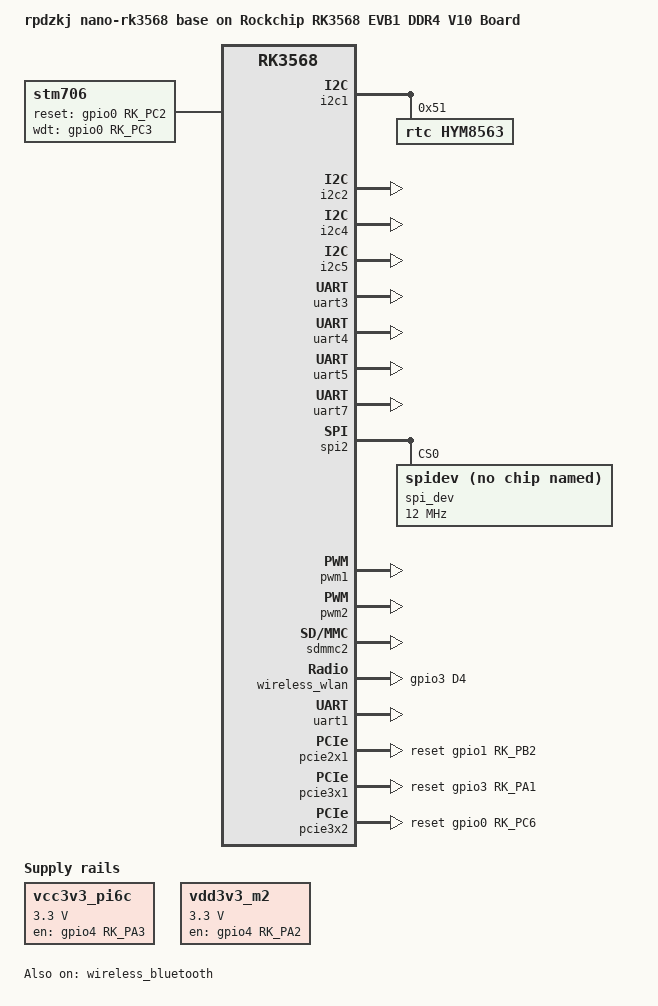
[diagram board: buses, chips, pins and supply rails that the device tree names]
// SPDX-License-Identifier: (GPL-2.0+ OR MIT)
/*
 * Copyright (c) 2020 Rockchip Electronics Co., Ltd.
 *
 */
 
/dts-v1/;
//rk3568-evb1-ddr4-v10
// #include "rk3568-evb1-ddr4-v10.dtsi"
//#include "rk3568-base-no-rk809.dtsi"

#include "rk3568-evb-rpdzkj-pwm-regulator.dtsi"

#include "rk3568-linux.dtsi"

/*************************camera***********************/
#include "rp-camera-mipi-gc2093-single-2lane.dtsi"
/***************************************************/


/*************************adc key***********************/
#include "rp-adc-key.dtsi"
/***************************************************/

/*************************CAN**********************/
#include "rp-can1-m1-rk3568.dtsi"
/**************************************************/
/*********************PCIE**************************/
#include "rk3568-pcie2x1.dtsi"
#include "rk3568-pcie3x1x1.dtsi"
#include "rk3568-pcie3x2.dtsi"
/***************************************************/

/*************************SATA***********************/
//#include "rk3568-sata2.dtsi"
/***************************************************/

/* audio */
#include "rp-audio-es8311.dtsi"

#include "lcd-gpio-nano-rk3568.dtsi"     //gpio config for lcd

/****** LCD config reference **/
/** single HDMI */
//#include "rp-lcd-hdmi.dtsi"

/** mipi0 +hdmi */
//#include "rp-lcd-mipi0-5-720-1280-v2-boxTP.dtsi"
#include "rp-lcd-mipi0-7-720-1280.dtsi"
//#include "rp-lcd-mipi0-8-800-1280-v3.dtsi"
//#include "rp-lcd-mipi0-8-1200-1920.dtsi"
//#include "rp-lcd-mipi0-10-800-1280-v3.dtsi"
//#include "rp-lcd-mipi0-10-1200-1920.dtsi"

/** MIPI1toLVDS + HDMI */
//#include "rp-lcd-mipi1tolvds-gm8775c-10-1024-600-raw.dtsi"
//#include "rp-lcd-mipi1tolvds-gm8775c-1920-1080.dtsi"

/** LVDS + HDMI */
//#include "rp-lcd-lvds-7-1024-600-v2.dtsi"
//#include "rp-lcd-lvds-10-1280-800.dtsi"

/** EDP + HDMI */
//#include "rp-lcd-edp-13-1920-1080.dtsi"
//#include "rp-lcd-edp-13.3-15.6-1920-1080.dtsi"



/{
        model = "rpdzkj nano-rk3568 base on Rockchip RK3568 EVB1 DDR4 V10 Board";
        compatible = "rpdzkj,nano-rk3568", "rockchip,rk3568";
	

       rp_power{
                status = "okay";
                compatible = "rp_power";
                rp_not_deep_sleep = <1>;

                pinctrl-names = "default";
                pinctrl-0 = <&led_pin &fan_pin &usb_pins>;
                
                //#define GPIO_FUNCTION_OUTPUT 0
                //#define GPIO_FUNCTION_INPUT 1
                //#define GPIO_FUNCTION_IRQ 2
                //#define GPIO_FUNCTION_FLASH 3
                //#define GPIO_FUNCTION_OUTPUT_CTRL 4

                /**
                 * gpioxxx {                    // the node name will display on /proc/rp_power, you can define any character string
                 *      gpio_num = <>;          // gpio you want ot control
                 *      gpio_function = <>;     // function of current gpio, refer to above define.
                 * };
                 */

                led {	//system led
                        gpio_num = <&gpio0 RK_PB7 GPIO_ACTIVE_HIGH>;
                        gpio_function = <4>;
                };

                fan {	//fan
                        gpio_num = <&gpio4 RK_PC0 GPIO_ACTIVE_HIGH>;
                        gpio_function = <4>;
                };

                otg_power {       //usb otg power
                        gpio_num = <&gpio4 RK_PA5 GPIO_ACTIVE_HIGH>;
                        gpio_function = <4>;
                };

                hub_rst {	//usb hub
                        gpio_num = <&gpio3 RK_PA3 GPIO_ACTIVE_HIGH>;
                        gpio_function = <4>;
                };

                usb3_pwr {       //usb3 power en
                        gpio_num = <&gpio4 RK_PA6 GPIO_ACTIVE_HIGH>;
                        gpio_function = <4>;
                };
                usb2_vdd0 {       //usb2.0_vdd0 power en
                        gpio_num = <&gpio4 RK_PB7 GPIO_ACTIVE_HIGH>;
                        gpio_function = <4>;
                };
								usb2_vdd1 {       //usb2.0_vdd1 power en
                        gpio_num = <&gpio3 RK_PA2 GPIO_ACTIVE_HIGH>;
                        gpio_function = <4>;
                };

                spk_en {       //spk enable
                        gpio_num = <&gpio0 RK_PA0 GPIO_ACTIVE_HIGH>;
                        gpio_function = <4>;
                };
                spk_mute {       //spk mute
                        gpio_num = <&gpio0 RK_PA3 GPIO_ACTIVE_LOW>;
                        gpio_function = <4>;
                };                          
        };

        rp_gpio{
                status = "okay";
                compatible = "rp_gpio";
                
                /**
                 * gpioxxx {                    // the node name will display on /proc/rp_gpio, you can define any character string
                 *      gpio_num = <>;          // gpio you want ot control
                 *      gpio_function = <>;     // function of current gpio： 0 output, 1 input, 3 blink
                 *      gpio_event = <KEY_F14>; // optional property used to define gpio report event such as KEY_F14, only works incase of gpio_function = <1>;
                 *    };
                 */
/*
		gpio3_a7 {
			gpio_num = <&gpio3 RK_PA7 GPIO_ACTIVE_HIGH>;
                        gpio_function = <0>;
		};

		gpio3_b0 {
                        gpio_num = <&gpio3 RK_PB0 GPIO_ACTIVE_HIGH>;
                        gpio_function = <0>;
                };
*/
		gpio4_a0 {
                        gpio_num = <&gpio4 RK_PA0 GPIO_ACTIVE_HIGH>;
                        gpio_function = <0>;
                };

		gpio4_a1 {
                        gpio_num = <&gpio4 RK_PA1 GPIO_ACTIVE_HIGH>;
                        gpio_function = <0>;
                };

        };
	
	stm706 {
                status = "okay";
                compatible = "stm706";
                reset_gpio = <&gpio0 RK_PC2 GPIO_ACTIVE_HIGH>;
                wdt_gpio = <&gpio0 RK_PC3 GPIO_ACTIVE_HIGH>;
        };
        
        
	vcc3v3_pi6c: vcc3v3_pi6c { //pcie3 clk enable for m.2
                compatible = "regulator-fixed";
                regulator-name = "vcc3v3_pi6c";
                regulator-always-on;
                regulator-boot-on;
                regulator-min-microvolt = <3300000>;
                regulator-max-microvolt = <3300000>;
                enable-active-high;
                gpios = <&gpio4 RK_PA3 GPIO_ACTIVE_HIGH>;
                pinctrl-names = "default";
                pinctrl-0 = <&pcie_clk_control>;
        };

	vdd3v3_m2: vdd3v3_m2 {   //m.2 power enable
                compatible = "regulator-fixed";
                regulator-name = "vdd3v3_m2";
                regulator-always-on;
                regulator-boot-on;
                regulator-min-microvolt = <3300000>;
                regulator-max-microvolt = <3300000>;
                enable-active-high;
                gpios = <&gpio4 RK_PA2 GPIO_ACTIVE_HIGH>;
                pinctrl-names = "default";
                pinctrl-0 = <&vdd_m2_control>;
        };
        
};

&vcc5v0_sys {
    enable-active-high;
    gpio = <&gpio4 RK_PD2 GPIO_ACTIVE_HIGH>;
    pinctrl-names = "default";
    pinctrl-0 = <&vcc5v0_pin>;
};

&vdd_3v3 {
    enable-active-high;	
    pinctrl-names = "default";
    pinctrl-0 = <&vdd3v3_pin>;
    gpio = <&gpio4 RK_PC4 GPIO_ACTIVE_HIGH>;
};

&vcc3v3_sd {
	// enable-active-high;	//active low
	pinctrl-names = "default";
	pinctrl-0 = <&vcc3v3_sd_pin>;
        gpio = <&gpio0 RK_PA5 GPIO_ACTIVE_LOW>;
};

&vdd_cpu {
	pinctrl-names = "default";
	pinctrl-0 = <&vsel1_gpio>;
	vsel-gpios = <&gpio0 RK_PA2 GPIO_ACTIVE_HIGH>;
};

&pmu_io_domains {
        status = "okay";
        pmuio2-supply = <&vcc3v3_pmu>;
        vccio1-supply = <&vcc_3v3>;
        vccio3-supply = <&vcc_3v3>;
        vccio4-supply = <&vcc_3v3>;
        vccio5-supply = <&vcc_3v3>;
        vccio6-supply = <&vcc_1v8>;
        vccio7-supply = <&vcc_3v3>;
};


&i2c1 {
	status = "okay";
        rtc@51 {
                status = "okay";
                compatible = "rtc,hym8563";
                reg = <0x51>;
	  //      irq_gpio = <&gpio0 RK_PD3 GPIO_ACTIVE_LOW>;
        };
};

&i2c2
{
	status = "okay";
	pinctrl-names = "default";
        pinctrl-0 = <&i2c2m1_xfer>;
};

&i2c4
{
	status = "okay";
	pinctrl-names = "default";
  	pinctrl-0 = <&i2c4m0_xfer>;
};

&i2c5 {
	status = "okay";
	pinctrl-names = "default";
  	pinctrl-0 = <&i2c5m0_xfer>;	
};

&uart0 {
	status = "disabled";
};

&uart3 {
	status = "okay";
	pinctrl-names = "default";
	pinctrl-0 = <&uart3m1_xfer>;
};

&uart4 {
	status = "okay";
	pinctrl-names = "default";
	pinctrl-0 = <&uart4m0_xfer>;
};

&uart5 {
    status = "okay";
	pinctrl-names = "default";
	pinctrl-0 = <&uart5m1_xfer>;
};

&uart7 {
	status = "okay";
	pinctrl-names = "default";
	pinctrl-0 = <&uart7m1_xfer>;
};


&spi2 {
	status = "okay";
    pinctrl-0 = <&spi2m1_cs0 &spi2m1_pins>;
    pinctrl-1 = <&spi2m1_cs0 &spi2m1_pins_hs>;

    spi_dev@0 {
        compatible = "rockchip,spidev";
        reg = <0>;
        spi-max-frequency = <12000000>;
        spi-lsb-first;
    };
};

/******** must be close,if not system no run ******/
&dmc {
       status = "disabled";
};

&dfi {
       status = "disabled";
};

/*********************************************/


&pwm1 {
    status = "okay";
    pinctrl-names = "active";
    pinctrl-0 = <&pwm1m0_pins>;
};

&pwm2 {
    status = "okay";
    pinctrl-names = "active";
    pinctrl-0 = <&pwm2m0_pins>;
};




&pwm12{
	status = "disabled";
	pinctrl-0 = <&pwm12m1_pins>;	
        pinctrl-names = "active";
};

&pwm13{
        status = "disabled";
        pinctrl-0 = <&pwm13m1_pins>; 
        pinctrl-names = "active";
};

/** LCD backlight
 * By default, we all use backlight5 node whether it is mipi, lvds or edp,
 */ 
/** LCD configuration */
#if defined(RP_SINGLE_LCD)

    #if defined(RP_MIPI12LVDS)
	&backlight5 {
                pwms = <&pwm8 0 25000 1>;
        };

	#if defined(RP_DUALLVDS)
	&backlight5 {
                pwms = <&pwm8 0 25000 0>;
        };

        #else
        #endif

    #elif defined(RP_EDP_USED)
    #endif
    
#else
    #ifdef RP_MIPI12LVDS
	
    #endif
#endif    


/** headphone detect pin */
&rk_headset {
    status = "disabled";
    pinctrl-0 = <&hp_det>;
};

/** wifi/bt config */
&sdio_pwrseq {
    pinctrl-0 = <&wifi_enable_h>;
    reset-gpios = <&gpio3 RK_PD5 GPIO_ACTIVE_LOW>;
};

&sdmmc2 {
	pinctrl-names = "default";
    	pinctrl-0 = <&sdmmc2m0_bus4 &sdmmc2m0_cmd &sdmmc2m0_clk>;
    	status = "okay";
};

&sdmmc1 {
    status = "disabled";
};

&wireless_wlan {
	pinctrl-0 = <&wifi_host_wake_irq>;
    WIFI,host_wake_irq = <&gpio3 RK_PD4 GPIO_ACTIVE_HIGH>;
};

&wireless_bluetooth {
    uart_rts_gpios = <&gpio4 RK_PB6 GPIO_ACTIVE_LOW>;
    pinctrl-0 = <&uart1m1_rtsn>;
    pinctrl-1 = <&uart1_gpios>;
    BT,reset_gpio = <&gpio4 RK_PA7 GPIO_ACTIVE_HIGH>;
    BT,wake_gpio = <&gpio4 RK_PB0 GPIO_ACTIVE_HIGH>;
    BT,wake_host_irq = <&gpio4 RK_PB1 GPIO_ACTIVE_HIGH>;
    status = "okay";
};

&uart1 {
    status = "okay";
    pinctrl-names = "default";
    pinctrl-0 = <&uart1m1_xfer &uart1m1_ctsn>;
};

&uart8 {
    status = "disabled";
};


/** pcie2x1 */
&vcc3v3_pcie {
    /**
     * delete for gpio used to be bt_wake_host
     * and the vcc3v3_pcie need not control on our board.
     */
    /delete-property/ gpio;
};

/******* pcie2x1x1 -rtl8111hs*****/
&pcie2x1 {
    status = "okay";
    
    reset-gpios = <&gpio1 RK_PB2 GPIO_ACTIVE_HIGH>;
};

/******* pcie3x1x1 -rtl8111hs*****/
&pcie3x1 {
    status = "okay";
    reset-gpios = <&gpio3 RK_PA1 GPIO_ACTIVE_HIGH>;
};

/******* pcie3x2x1 -m.2*****/
&pcie3x2 {
    status = "okay";
    reset-gpios = <&gpio0 RK_PC6 GPIO_ACTIVE_HIGH>;
};

&pinctrl {
	pmic {
		vsel1_gpio: vsel1-gpio {
			rockchip,pins =
				<0 RK_PA2 RK_FUNC_GPIO &pcfg_pull_down>;
		};
	};

	power_pins {
		vdd3v3_pin: vdd3v3-pin {
			rockchip,pins =
				<4 RK_PC4 RK_FUNC_GPIO &pcfg_pull_up>;
		};
		vcc5v0_pin: vcc5v0-pin {
			rockchip,pins =
				<4 RK_PD2 RK_FUNC_GPIO &pcfg_pull_up>;
		};
		vcc3v3_sd_pin: vcc3v3-sd-pin {
			rockchip,pins =
				<0 RK_PA5 RK_FUNC_GPIO &pcfg_pull_down>;
		};
        
        led_pin: led-pin {
			rockchip,pins =
				<0 RK_PB7 RK_FUNC_GPIO &pcfg_pull_none>;
        	};
        fan_pin: fan-pin {
			rockchip,pins =
				<4 RK_PC0 RK_FUNC_GPIO &pcfg_pull_none>;
        	};
        usb_pins: usb-pins {
			rockchip,pins =
                /* otg power en */
				<4 RK_PA5 RK_FUNC_GPIO &pcfg_pull_none>,
                /* hub reset pin */
				<3 RK_PA3 RK_FUNC_GPIO &pcfg_pull_none>,
                /* usb3.0 power en */
				<4 RK_PA6 RK_FUNC_GPIO &pcfg_pull_none>,
                /* usb2.0 vdd0 en */
				<4 RK_PB7 RK_FUNC_GPIO &pcfg_pull_none>,
		/* usb2.0 vdd1 en */
                                <3 RK_PA2 RK_FUNC_GPIO &pcfg_pull_none>;
        	};
	};
    
	headphone {     //redefine hp detect pin
        hp_det: hp-det {
            rockchip,pins =
                <2 RK_PD3 RK_FUNC_GPIO &pcfg_pull_down>;
		};
	};
    
    sdio-pwrseq {   //redefine sdio power pin     
        wifi_enable_h: wifi-enable-h {
            rockchip,pins = <3 RK_PD5 RK_FUNC_GPIO &pcfg_pull_none>;
        };
    };
    wireless-wlan { //redefine wlaD4wake host pin
        wifi_host_wake_irq: wifi-host-wake-irq {
            rockchip,pins = <3 RK_PD4 0 &pcfg_pull_down>;
        };
    };  
    wireless-bluetooth {
        uart1_gpios: uart1-gpios {
            rockchip,pins = <4 RK_PB6 0 &pcfg_pull_none>;
        };
    };

	pcie3_control{
                pcie_clk_control: pcie_clk_control {
                        rockchip,pins =
                        <4 RK_PA3 RK_FUNC_GPIO &pcfg_pull_up>;
                };
                vdd_m2_control: vdd_m2_control {
                        rockchip,pins =
                        <4 RK_PA2 RK_FUNC_GPIO &pcfg_pull_up>;
                };
        }; 
};

